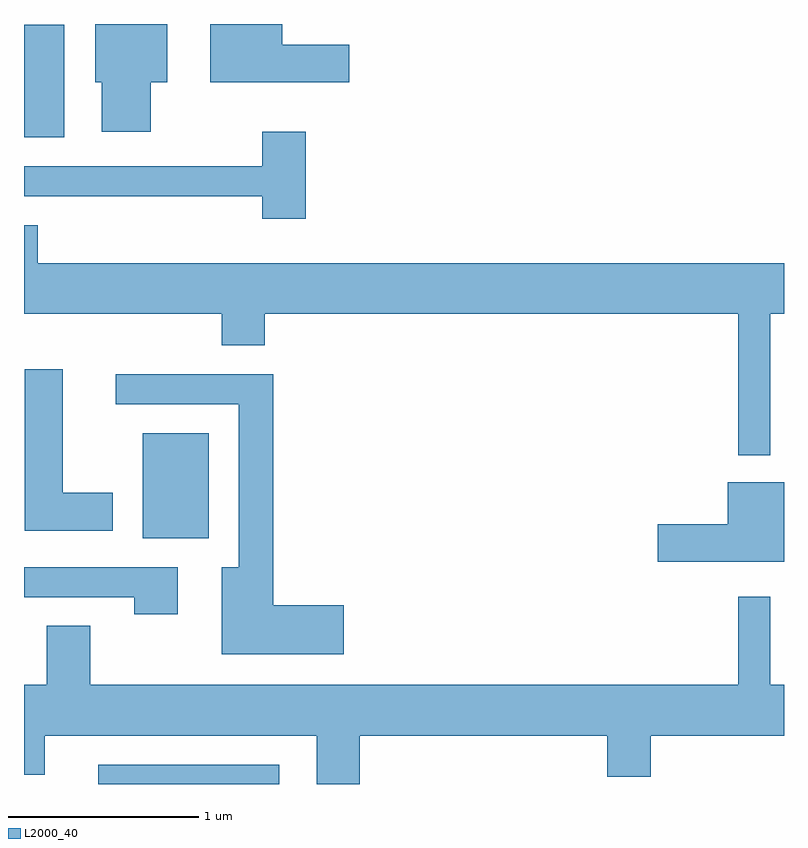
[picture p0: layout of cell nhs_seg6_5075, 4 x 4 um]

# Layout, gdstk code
import gdstk
lib = gdstk.Library(unit=1e-6, precision=1e-09)
def R(c, l, rs):  # rectangles x0, y0, x1, y1
    for r in rs: c.add(gdstk.rectangle(r[:2], r[2:], *l))
def P(c, l, *ps):  # polygons
    for p in ps: c.add(gdstk.Polygon(p, *l))
L2000_40 = (2000, 40)

nhs_seg6_5075 = lib.new_cell('nhs_seg6_5075')
R(nhs_seg6_5075, L2000_40, [(340.001,1614.162,340.954,1614.264), (340.236,1615.456,340.584,1616.009), (339.611,1617.566,339.824,1618.159)])
P(nhs_seg6_5075, L2000_40, [(341.324,1618.054),(340.969,1618.054),(340.969,1618.162),(340.591,1618.162),(340.591,1617.856),(341.324,1617.856)],
  [(340.279,1617.856),(340.364,1617.856),(340.364,1618.162),(339.986,1618.162),(339.986,1617.856),(340.021,1617.856),(340.021,1617.596),(340.279,1617.596)],
  [(341.094,1617.594),(340.866,1617.594),(340.866,1617.414),(339.611,1617.414),(339.611,1617.256),(340.866,1617.256),(340.866,1617.136),(341.094,1617.136)],
  [(343.539,1616.636),(343.611,1616.636),(343.611,1616.904),(339.684,1616.904),(339.684,1617.104),(339.611,1617.104),(339.611,1616.636),(340.651,1616.636),(340.651,1616.471),(340.879,1616.471),(340.879,1616.636),(343.371,1616.636),(343.371,1615.893),(343.539,1615.893)],
  [(340.079,1615.694),(339.814,1615.694),(339.814,1616.344),(339.616,1616.344),(339.616,1615.496),(340.079,1615.496)],
  [(341.294,1615.104),(340.924,1615.104),(340.924,1616.319),(340.093,1616.319),(340.093,1616.161),(340.741,1616.161),(340.741,1615.304),(340.651,1615.304),(340.651,1614.846),(341.294,1614.846)],
  [(343.611,1615.749),(343.316,1615.749),(343.316,1615.529),(342.946,1615.529),(342.946,1615.331),(343.611,1615.331)],
  [(340.419,1615.304),(339.611,1615.304),(339.611,1615.146),(340.191,1615.146),(340.191,1615.056),(340.419,1615.056)],
  [(341.379,1614.416),(342.681,1614.416),(342.681,1614.201),(342.909,1614.201),(342.909,1614.416),(343.611,1614.416),(343.611,1614.684),(343.539,1614.684),(343.539,1615.148),(343.371,1615.148),(343.371,1614.684),(339.959,1614.684),(339.959,1614.994),(339.731,1614.994),(339.731,1614.684),(339.611,1614.684),(339.611,1614.211),(339.719,1614.211),(339.719,1614.416),(341.151,1614.416),(341.151,1614.162),(341.379,1614.162)])

lib.write_gds('nhs_seg6_5075.gds')
